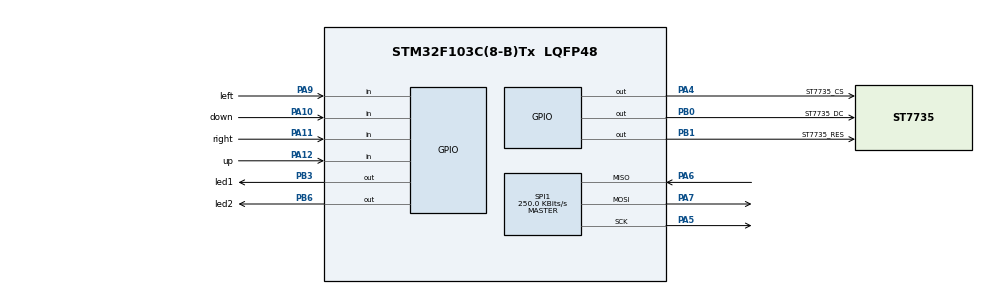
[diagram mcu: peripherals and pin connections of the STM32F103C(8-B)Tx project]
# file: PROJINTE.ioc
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Mcu.Family=STM32F1
Mcu.Name=STM32F103C(8-B)Tx
Mcu.Package=LQFP48
NVIC.PriorityGroup=NVIC_PRIORITYGROUP_4
PA10.GPIO_Label=down
PA10.GPIO_PuPd=GPIO_PULLUP
PA10.Signal=GPIO_Input
PA11.GPIO_Label=right
PA11.GPIO_PuPd=GPIO_PULLUP
PA11.Signal=GPIO_Input
PA12.GPIO_Label=up
PA12.GPIO_PuPd=GPIO_PULLUP
PA12.Signal=GPIO_Input
PA13.Mode=Serial_Wire
PA13.Signal=SYS_JTMS-SWDIO
PA14.Mode=Serial_Wire
PA14.Signal=SYS_JTCK-SWCLK
PA4.GPIO_Label=ST7735_CS
PA4.Signal=GPIO_Output
PA5.Mode=Full_Duplex_Master
PA5.Signal=SPI1_SCK
PA6.Mode=Full_Duplex_Master
PA6.Signal=SPI1_MISO
PA7.Mode=Full_Duplex_Master
PA7.Signal=SPI1_MOSI
PA9.GPIO_Label=left
PA9.GPIO_PuPd=GPIO_PULLUP
PA9.Signal=GPIO_Input
PB0.GPIO_Label=ST7735_DC
PB0.Signal=GPIO_Output
PB1.GPIO_Label=ST7735_RES
PB1.Signal=GPIO_Output
PB3.GPIO_Label=led1
PB3.Signal=GPIO_Output
PB6.GPIO_Label=led2
PB6.Signal=GPIO_Output
ProjectManager.HeapSize=0x200
ProjectManager.StackSize=0x400
ProjectManager.TargetToolchain=STM32CubeIDE
RCC.APB1Freq_Value=8000000
RCC.APB2Freq_Value=8000000
SPI1.BaudRatePrescaler=SPI_BAUDRATEPRESCALER_32
SPI1.CalculateBaudRate=250.0 KBits/s
SPI1.Direction=SPI_DIRECTION_2LINES
SPI1.Mode=SPI_MODE_MASTER
SPI1.VirtualType=VM_MASTER
board=custom

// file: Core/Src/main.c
/* USER CODE BEGIN Header */
/**
  ******************************************************************************
  * @file           : main.c
  * @brief          : Main program body
  ******************************************************************************
  * @attention
  *
  * <h2><center>&copy; Copyright (c) 2026 STMicroelectronics.
  * All rights reserved.</center></h2>
  *
  * This software component is licensed by ST under BSD 3-Clause license,
  * the "License"; You may not use this file except in compliance with the
  * License. You may obtain a copy of the License at:
  *                        opensource.org/licenses/BSD-3-Clause
  *
  ******************************************************************************
  */
/* USER CODE END Header */
#include "main.h"

/* USER CODE BEGIN Includes */
#include "st7735\st7735.h"
#include <stdbool.h>
#include <stdlib.h>
#include <time.h>
/* USER CODE END Includes */

/* USER CODE BEGIN PTD */
typedef enum{
	AULA,
	LOGIN,
    DEFINIR,
	BEGINE,
	RELATORIO,
	ERRO,
	ERRO2
}estado;
/* USER CODE END PTD */

/* USER CODE BEGIN PD */
#define left  HAL_GPIO_ReadPin(left_GPIO_Port, left_Pin)
#define down HAL_GPIO_ReadPin(down_GPIO_Port, down_Pin)
#define right HAL_GPIO_ReadPin(right_GPIO_Port, right_Pin)
#define up HAL_GPIO_ReadPin(up_GPIO_Port, up_Pin)
/* USER CODE END PD */

SPI_HandleTypeDef hspi1;

/* USER CODE BEGIN PV */
int x = 0;
int alunosquant = 0;
int alunos = 0;
int saida = 0;
int senha = 0;
int senhatentativa = 0;
int banheiro = 0;
int banheiro2 = 0;
estado estadoAtual = BEGINE;
estado ultimoEstado = -1;

/* USER CODE END PV */

void SystemClock_Config(void);
static void MX_GPIO_Init(void);
static void MX_SPI1_Init(void);

/* USER CODE BEGIN 0 */

/*TELAS*/
void telalogin()
{
 DrawLines();

    if(right == 0)
    {
        x++;

    }

    if(left == 0)
    {
        x--;

    }
    if(x < 0){
    	x = 0;
    }
    if(x > 10){
    	x = 10;
    }
     if(up == 0 && senhatentativa == 3){
    	 senhatentativa = 0;
    	 estadoAtual = ERRO2;
     }
    if(up == 0)
    {
        if(x == senha)
        {
           estadoAtual = DEFINIR;
        }
        else {
          senhatentativa ++;
        }

    }

}
void telainicial()

{

  ST7735_WriteString(0,0, "   BEM VINDO   " , Font_11x18, WHITE, GREEN);
  ST7735_WriteString(0,25, "    AO SISTEMA DE CONTROLE DE ACESSO  " , Font_7x10, WHITE, BLACK);
  ST7735_WriteString(0,50, "PRESSIONE QUALQUER BOTAO PARA INICIAR " , Font_7x10, WHITE, BLACK);

 if(right == 0 || left == 0 || up == 0 || down == 0)
 {
     estadoAtual = LOGIN;

 }
}
void teladefinir()
{

  Drawalunos(alunosquant);
    if(right == 0)
    {
        alunosquant++;
        HAL_Delay(150);
    }

    if(left == 0)
    {
        alunosquant--;
        HAL_Delay(150);
    }
    if(alunosquant > 99){
    	alunosquant = 99;
    }
    if(alunosquant < 0){
    	alunosquant = 0;
    }

    if(up == 0)
    {
        estadoAtual = AULA;
        HAL_Delay(150);
    }
}
void telaaula()
{
  DrawAula();

    if(right == 0)
    {
        alunos++;
        HAL_Delay(150);
    }

    if(left == 0)
    {
        alunos--;
        HAL_Delay(150);
    }
    if(up == 0){
      banheiro ++;
      saida ++;
      HAL_Delay(150);
    }
    if(down == 0){
          banheiro --;
        HAL_Delay(150);
        }

    if(alunos > alunosquant){
    	estadoAtual = ERRO;
    }
    if(alunos < 0){
    alunos = 0;
    }
    if(banheiro > 3){
    	estadoAtual = ERRO;
    }
    if(banheiro < 0){
    	banheiro = 0;
    }

    if(up == 0 && right == 0)
    {
    	saida --;
    	alunos --;
        estadoAtual = RELATORIO;
        HAL_Delay(150);
    }

}
void telarelatorio()

{
  Drawmenu();

  if(right == 0 || left == 0 || up == 0 || down == 0){
	  estadoAtual = BEGINE;
  }

}
void telaerro2(){
	Drawerro2();
	if(right == 0 || left == 0 || up == 0 || down == 0){
		estadoAtual = LOGIN;
	}
}
void telaerro(){
 Drawerro();
		if(right == 0 || left == 0 || up == 0 || down == 0){
		alunos = 0;
		banheiro = 0;
		saida = 0;
		estadoAtual = AULA;
		}
}
/*DESENHO DAS TELAS*/
void DrawAula()
{
	char alunosq[3];

		    alunosq[0] = (alunosquant / 10) + '0';
		    alunosq[1] = (alunosquant % 10) + '0';
		    alunosq[2] = '\0';

	 char alu[3];

		    	    alu[0] = (alunos / 10) + '0';
		    	    alu[1] = (alunos % 10) + '0';
		    	    alu[2] = '\0';
     char ban[10]={0};
     ban[0]=banheiro + '0';

  ST7735_WriteString(0,0, "AULA INICIADA" , Font_11x18, WHITE, BLACK);
  ST7735_WriteString(80,25, alu, Font_7x10, WHITE, BLACK);
  ST7735_WriteString(105,25, alunosq , Font_7x10, WHITE, BLACK);
  ST7735_WriteString(95, 25,"/",Font_7x10,WHITE, BLACK);
  ST7735_WriteString(00, 25,"NUM.ALUNOS:",Font_7x10,WHITE, BLACK);
  ST7735_WriteString(00, 40,"ALU.FORA:",Font_7x10,WHITE, BLACK);

  ST7735_WriteString(75 ,40, ban , Font_7x10, WHITE, BLACK);
  ST7735_WriteString(90, 40,"/3" , Font_7x10, WHITE, BLACK);
}
void DrawLines()
{
	char c[3];

		    c[0] = (x / 10) + '0';
		    c[1] = (x % 10) + '0';
		    c[2] = '\0';

		    char tent[10]={0};
		     tent[0]=senhatentativa + '0';

		ST7735_WriteString(0,0, "    LOGGIN   " , Font_11x18, WHITE, GREEN);
		ST7735_WriteString(55,40, c , Font_16x26, WHITE, BLACK);
		ST7735_WriteString(20,70, "/3" , Font_7x10, WHITE, BLACK);
		ST7735_WriteString(5,70, tent , Font_7x10, WHITE, BLACK);

}
void Drawmenu()
{
	int falta = alunosquant - alunos;

	char fal[3];

			    fal[0] = (falta / 10) + '0';
			    fal[1] = (falta % 10) + '0';
			    fal[2] = '\0';
    char sai[3];

			    		    sai[0] = (saida / 10) + '0';
			    		    sai[1] = (saida % 10) + '0';
			    		    sai[2] = '\0';

 	ST7735_WriteString(0,10, "RELATORIO  " , Font_11x18, WHITE, BLACK);
 	ST7735_WriteString(0,40, "FALTAS:", Font_7x10, WHITE, BLACK);
 	ST7735_WriteString(50,40, fal , Font_7x10, WHITE, BLACK);
 	ST7735_WriteString(0,55, "N DE SAIDAS:" , Font_7x10, WHITE, BLACK);
 	ST7735_WriteString(90,55, sai , Font_7x10, WHITE, BLACK);

}
void Drawerro2(){
	ST7735_WriteString(0,0, "SENHA" , Font_11x18, WHITE, RED);
	ST7735_WriteString(0,20, "INCORRETA" , Font_11x18, WHITE, RED);
}
void Drawerro(){
	ST7735_WriteString(0,0, "ERRO " , Font_16x26, WHITE, RED);
	ST7735_WriteString(0,27, "QUANTIDADE DE ALUNOS OU BANHEIRO EXEDIDA" , Font_7x10,WHITE, RED);
	ST7735_WriteString(0,50, "PRESSIONE QUALQUER TECLA PARA RETORNAR" , Font_7x10,WHITE, RED);
}
void Drawalunos()

{
	  char alunosq[3];

	    alunosq[0] = (alunosquant / 10) + '0';
	    alunosq[1] = (alunosquant % 10) + '0';
	    alunosq[2] = '\0';

	ST7735_WriteString(0,0, "DEFINA A QUANTIDADE DE ALUNOS   " , Font_7x10, WHITE, BLACK);
  ST7735_WriteString(0,30, alunosq , Font_11x18, WHITE, BLACK);
  ST7735_WriteString(20,30, "/99", Font_11x18, WHITE, BLACK);
}
/* USER CODE END 0 */

int main(void)
{

  /* MCU Configuration----------------------------------------------------r   ----*/

  /* Reset of all peripherals, Initializes the Flash interface and the Systick. */
  HAL_Init();

  /* Configure the system clock */
  SystemClock_Config();

  /* Initialize all configured peripherals */
  MX_GPIO_Init();
  MX_SPI1_Init();
  /* USER CODE BEGIN 2 */

ST7735_Init();
DrawLines(x);
Drawalunos();

  /* USER CODE END 2 */

  /* Infinite loop */
  /* USER CODE BEGIN WHILE */

  while (1)
  {

	  if(estadoAtual != ultimoEstado)
	     {
	         switch(estadoAtual)
	         {
	         case BEGINE:
	         ST7735_FillScreen(BLACK);

	         break;
	             case LOGIN:
	                 ST7735_FillScreen(BLACK);

	                 break;
	             case DEFINIR:
	            	  ST7735_FillScreen(BLACK);
	            	  break;

	             case AULA:
	                 ST7735_FillScreen(BLACK);
	                 break;

	             case RELATORIO:
	            	 ST7735_FillScreen(BLACK);
	            	 break;
	             case ERRO:
	             ST7735_FillScreen(RED);
	             break;
	             case ERRO2:
	             	 ST7735_FillScreen(RED);
	             	     break;
	         }

	         ultimoEstado = estadoAtual;
	     }

	     switch(estadoAtual)
	     {
	     case BEGINE:
	    	 telainicial();

	    	 break;
	         case LOGIN:
	        	 srand(HAL_GetTick());
	        	 senha = (rand()%10) + 1;
	             telalogin();
	             break;

	         case RELATORIO:
	        	 telarelatorio();
	             break;

	         case AULA:
	             telaaula();
	             break;

	         case DEFINIR:
	         teladefinir();
	         	 break;
	         case ERRO:
	         telaerro();
	         break;
	         case ERRO2:
	         telaerro2();
	         break;
	     }
    /* USER CODE END WHILE */

  }
}

void SystemClock_Config(void)
{
  RCC_OscInitTypeDef RCC_OscInitStruct = {0};
  RCC_ClkInitTypeDef RCC_ClkInitStruct = {0};

  /** Initializes the RCC Oscillators according to the specified parameters
  * in the RCC_OscInitTypeDef structure.
  */
  RCC_OscInitStruct.OscillatorType = RCC_OSCILLATORTYPE_HSI;
  RCC_OscInitStruct.HSIState = RCC_HSI_ON;
  RCC_OscInitStruct.HSICalibrationValue = RCC_HSICALIBRATION_DEFAULT;
  RCC_OscInitStruct.PLL.PLLState = RCC_PLL_NONE;
  if (HAL_RCC_OscConfig(&RCC_OscInitStruct) != HAL_OK)
  {
    Error_Handler();
  }
  /** Initializes the CPU, AHB and APB buses clocks
  */
  RCC_ClkInitStruct.ClockType = RCC_CLOCKTYPE_HCLK|RCC_CLOCKTYPE_SYSCLK
                              |RCC_CLOCKTYPE_PCLK1|RCC_CLOCKTYPE_PCLK2;
  RCC_ClkInitStruct.SYSCLKSource = RCC_SYSCLKSOURCE_HSI;
  RCC_ClkInitStruct.AHBCLKDivider = RCC_SYSCLK_DIV1;
  RCC_ClkInitStruct.APB1CLKDivider = RCC_HCLK_DIV1;
  RCC_ClkInitStruct.APB2CLKDivider = RCC_HCLK_DIV1;

  if (HAL_RCC_ClockConfig(&RCC_ClkInitStruct, FLASH_LATENCY_0) != HAL_OK)
  {
    Error_Handler();
  }
}

static void MX_SPI1_Init(void)
{

  /* SPI1 parameter configuration*/
  hspi1.Instance = SPI1;
  hspi1.Init.Mode = SPI_MODE_MASTER;
  hspi1.Init.Direction = SPI_DIRECTION_2LINES;
  hspi1.Init.DataSize = SPI_DATASIZE_8BIT;
  hspi1.Init.CLKPolarity = SPI_POLARITY_LOW;
  hspi1.Init.CLKPhase = SPI_PHASE_1EDGE;
  hspi1.Init.NSS = SPI_NSS_SOFT;
  hspi1.Init.BaudRatePrescaler = SPI_BAUDRATEPRESCALER_32;
  hspi1.Init.FirstBit = SPI_FIRSTBIT_MSB;
  hspi1.Init.TIMode = SPI_TIMODE_DISABLE;
  hspi1.Init.CRCCalculation = SPI_CRCCALCULATION_DISABLE;
  hspi1.Init.CRCPolynomial = 10;
  if (HAL_SPI_Init(&hspi1) != HAL_OK)
  {
    Error_Handler();
  }

}

static void MX_GPIO_Init(void)
{
  GPIO_InitTypeDef GPIO_InitStruct = {0};

  /* GPIO Ports Clock Enable */
  __HAL_RCC_GPIOA_CLK_ENABLE();
  __HAL_RCC_GPIOB_CLK_ENABLE();

  /*Configure GPIO pin Output Level */
  HAL_GPIO_WritePin(ST7735_CS_GPIO_Port, ST7735_CS_Pin, GPIO_PIN_RESET);

  /*Configure GPIO pin Output Level */
  HAL_GPIO_WritePin(GPIOB, ST7735_DC_Pin|ST7735_RES_Pin|led1_Pin|led2_Pin, GPIO_PIN_RESET);

  /*Configure GPIO pin : ST7735_CS_Pin */
  GPIO_InitStruct.Pin = ST7735_CS_Pin;
  GPIO_InitStruct.Mode = GPIO_MODE_OUTPUT_PP;
  GPIO_InitStruct.Pull = GPIO_NOPULL;
  GPIO_InitStruct.Speed = GPIO_SPEED_FREQ_LOW;
  HAL_GPIO_Init(ST7735_CS_GPIO_Port, &GPIO_InitStruct);

  /*Configure GPIO pins : ST7735_DC_Pin ST7735_RES_Pin led1_Pin led2_Pin */
  GPIO_InitStruct.Pin = ST7735_DC_Pin|ST7735_RES_Pin|led1_Pin|led2_Pin;
  GPIO_InitStruct.Mode = GPIO_MODE_OUTPUT_PP;
  GPIO_InitStruct.Pull = GPIO_NOPULL;
  GPIO_InitStruct.Speed = GPIO_SPEED_FREQ_LOW;
  HAL_GPIO_Init(GPIOB, &GPIO_InitStruct);

  /*Configure GPIO pins : left_Pin down_Pin right_Pin up_Pin */
  GPIO_InitStruct.Pin = left_Pin|down_Pin|right_Pin|up_Pin;
  GPIO_InitStruct.Mode = GPIO_MODE_INPUT;
  GPIO_InitStruct.Pull = GPIO_PULLUP;
  HAL_GPIO_Init(GPIOA, &GPIO_InitStruct);

}

void Error_Handler(void)
{
  __disable_irq();
  while (1)
  {
  }
}

/************************ (C) COPYRIGHT STMicroelectronics *****END OF FILE****/
